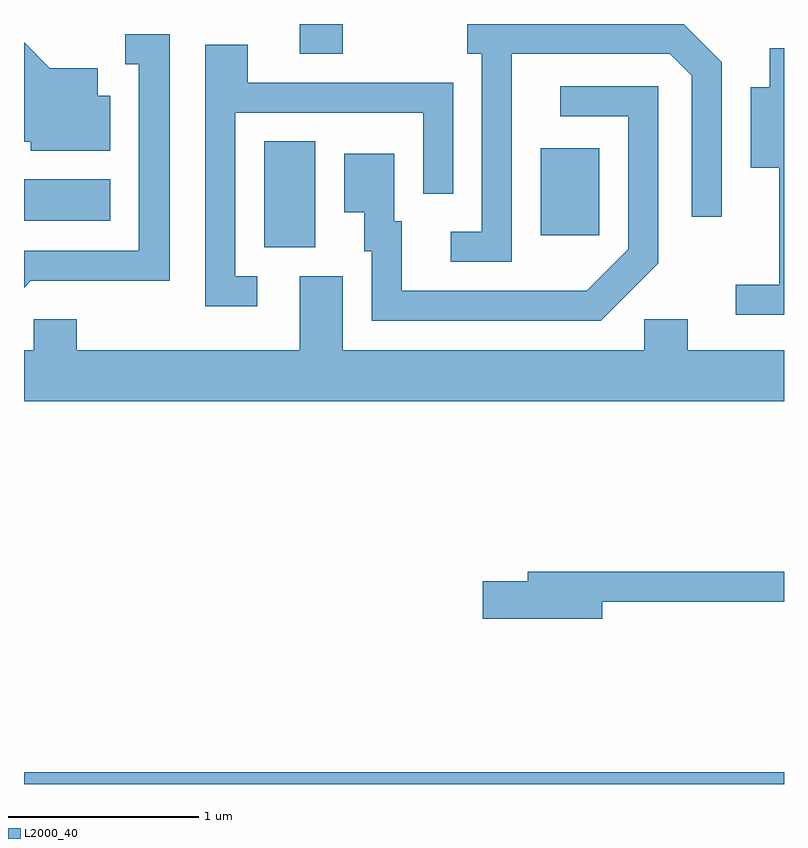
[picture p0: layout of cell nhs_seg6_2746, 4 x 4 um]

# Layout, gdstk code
import gdstk
lib = gdstk.Library(unit=1e-6, precision=1e-09)
def R(c, l, rs):  # rectangles x0, y0, x1, y1
    for r in rs: c.add(gdstk.rectangle(r[:2], r[2:], *l))
def P(c, l, *ps):  # polygons
    for p in ps: c.add(gdstk.Polygon(p, *l))
L2000_40 = (2000, 40)

nhs_seg6_2746 = lib.new_cell('nhs_seg6_2746')
R(nhs_seg6_2746, L2000_40, [(267.611,1630.162,271.611,1630.224), (268.876,1632.986,269.144,1633.544), (270.331,1633.051,270.639,1633.509), (267.611,1633.126,268.064,1633.344), (269.061,1634.006,269.289,1634.162)])
P(nhs_seg6_2746, L2000_40, [(270.179,1634.006),(271.009,1634.006),(271.126,1633.889),(271.126,1633.148),(271.284,1633.148),(271.284,1633.962),(271.084,1634.162),(269.943,1634.162),(269.943,1634.006),(270.021,1634.006),(270.021,1633.069),(269.858,1633.069),(269.858,1632.911),(270.179,1632.911)],
  [(267.647,1632.811),(268.379,1632.811),(268.379,1634.109),(268.143,1634.109),(268.143,1633.951),(268.216,1633.951),(268.216,1632.969),(267.611,1632.969),(267.611,1632.775)],
  [(268.064,1633.784),(267.999,1633.784),(267.999,1633.929),(267.747,1633.929),(267.611,1634.065),(267.611,1633.541),(267.646,1633.541),(267.646,1633.496),(268.064,1633.496)],
  [(268.838,1632.834),(268.724,1632.834),(268.724,1633.696),(269.711,1633.696),(269.711,1633.268),(269.869,1633.268),(269.869,1633.854),(268.789,1633.854),(268.789,1634.054),(268.566,1634.054),(268.566,1632.676),(268.838,1632.676)],
  [(271.611,1634.034),(271.536,1634.034),(271.536,1633.829),(271.436,1633.829),(271.436,1633.406),(271.586,1633.406),(271.586,1632.789),(271.358,1632.789),(271.358,1632.631),(271.611,1632.631)],
  [(270.949,1632.904),(270.949,1633.834),(270.433,1633.834),(270.433,1633.676),(270.791,1633.676),(270.791,1632.977),(270.574,1632.759),(269.599,1632.759),(269.599,1633.124),(269.559,1633.124),(269.559,1633.479),(269.296,1633.479),(269.296,1633.171),(269.401,1633.171),(269.401,1632.966),(269.441,1632.966),(269.441,1632.601),(270.647,1632.601)],
  [(271.611,1632.444),(271.104,1632.444),(271.104,1632.609),(270.876,1632.609),(270.876,1632.444),(269.289,1632.444),(269.289,1632.834),(269.061,1632.834),(269.061,1632.444),(267.889,1632.444),(267.889,1632.609),(267.661,1632.609),(267.661,1632.444),(267.611,1632.444),(267.611,1632.176),(271.611,1632.176)],
  [(270.654,1631.121),(271.611,1631.121),(271.611,1631.279),(270.261,1631.279),(270.261,1631.229),(270.026,1631.229),(270.026,1631.031),(270.654,1631.031)])

lib.write_gds('nhs_seg6_2746.gds')
